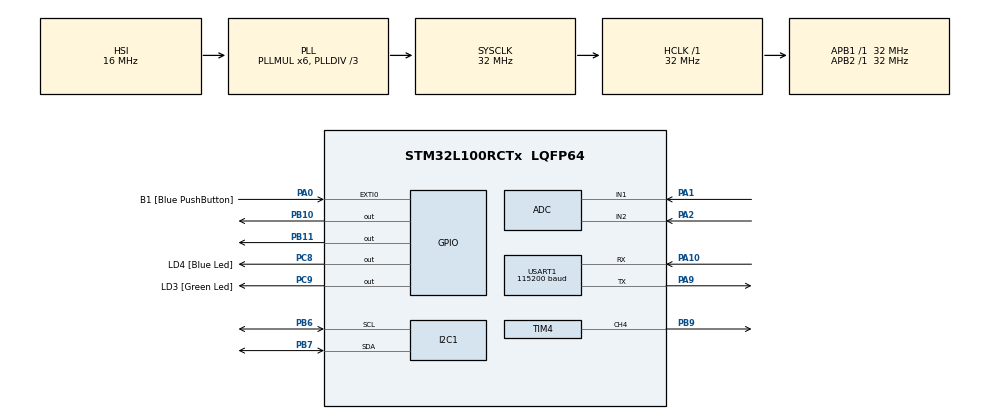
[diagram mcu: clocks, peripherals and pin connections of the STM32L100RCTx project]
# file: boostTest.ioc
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ADC.Channel-0\#ChannelRegularConversion=ADC_CHANNEL_1
ADC.Channel-1\#ChannelRegularConversion=ADC_CHANNEL_2
ADC.ClockPrescaler=ADC_CLOCK_ASYNC_DIV4
ADC.ContinuousConvMode=ENABLE
ADC.DMAContinuousRequests=ENABLE
ADC.DataAlign=ADC_DATAALIGN_RIGHT
ADC.DiscontinuousConvMode=DISABLE
ADC.EOCSelection=EOC_SINGLE_CONV
ADC.EnableAnalogWatchDog=false
ADC.ExternalTrigConvEdge=ADC_EXTERNALTRIGCONVEDGE_NONE
ADC.InjNumberOfConversion=0
ADC.LowPowerAutoPowerOff=ADC_AUTOPOWEROFF_DISABLE
ADC.LowPowerAutoWait=ADC_AUTOWAIT_DISABLE
ADC.NbrOfConversion=2
ADC.NbrOfConversionFlag=1
ADC.Rank-0\#ChannelRegularConversion=1
ADC.Rank-1\#ChannelRegularConversion=2
ADC.Resolution=ADC_RESOLUTION12b
ADC.SamplingTime-0\#ChannelRegularConversion=ADC_SAMPLETIME_4CYCLES
ADC.SamplingTime-1\#ChannelRegularConversion=ADC_SAMPLETIME_4CYCLES
ADC.ScanConvMode=ADC_SCAN_ENABLE
Dma.ADC.2.Direction=DMA_PERIPH_TO_MEMORY
Dma.ADC.2.Instance=DMA1_Channel1
Dma.ADC.2.MemDataAlignment=DMA_MDATAALIGN_WORD
Dma.ADC.2.MemInc=DMA_MINC_ENABLE
Dma.ADC.2.Mode=DMA_CIRCULAR
Dma.ADC.2.PeriphDataAlignment=DMA_PDATAALIGN_WORD
Dma.ADC.2.PeriphInc=DMA_PINC_DISABLE
Dma.ADC.2.Priority=DMA_PRIORITY_HIGH
Dma.Request0=USART1_TX
Dma.Request1=USART1_RX
Dma.Request2=ADC
Dma.USART1_RX.1.Direction=DMA_PERIPH_TO_MEMORY
Dma.USART1_RX.1.Instance=DMA1_Channel5
Dma.USART1_RX.1.MemDataAlignment=DMA_MDATAALIGN_BYTE
Dma.USART1_RX.1.MemInc=DMA_MINC_ENABLE
Dma.USART1_RX.1.Mode=DMA_CIRCULAR
Dma.USART1_RX.1.PeriphDataAlignment=DMA_PDATAALIGN_BYTE
Dma.USART1_RX.1.PeriphInc=DMA_PINC_DISABLE
Dma.USART1_RX.1.Priority=DMA_PRIORITY_HIGH
Dma.USART1_TX.0.Direction=DMA_MEMORY_TO_PERIPH
Dma.USART1_TX.0.Instance=DMA1_Channel4
Dma.USART1_TX.0.MemDataAlignment=DMA_MDATAALIGN_BYTE
Dma.USART1_TX.0.MemInc=DMA_MINC_ENABLE
Dma.USART1_TX.0.Mode=DMA_NORMAL
Dma.USART1_TX.0.PeriphDataAlignment=DMA_PDATAALIGN_BYTE
Dma.USART1_TX.0.PeriphInc=DMA_PINC_DISABLE
Dma.USART1_TX.0.Priority=DMA_PRIORITY_HIGH
Mcu.Family=STM32L1
Mcu.Name=STM32L100RCTx
Mcu.Package=LQFP64
NVIC.ADC1_IRQn=true\:0\:0\:false\:false\:true
NVIC.DMA1_Channel1_IRQn=true\:0\:0\:false\:false\:true
NVIC.DMA1_Channel4_IRQn=true\:0\:0\:false\:false\:true
NVIC.DMA1_Channel5_IRQn=true\:0\:0\:false\:false\:true
NVIC.PriorityGroup=NVIC_PRIORITYGROUP_0
NVIC.USART1_IRQn=true\:0\:0\:false\:false\:true
PA0-WKUP1.GPIO_Label=B1 [Blue PushButton]
PA0-WKUP1.GPIO_ModeDefaultEXTI=GPIO_MODE_EVT_RISING
PA0-WKUP1.Signal=GPXTI0
PA1.Mode=IN1
PA1.Signal=ADC_IN1
PA10.Mode=Asynchronous
PA10.Signal=USART1_RX
PA13.GPIO_Label=SWDIO
PA13.Signal=SYS_JTMS-SWDIO
PA14.GPIO_Label=SWCLK
PA14.Signal=SYS_JTCK-SWCLK
PA2.Mode=IN2
PA2.Signal=ADC_IN2
PA9.Mode=Asynchronous
PA9.Signal=USART1_TX
PB10.Signal=GPIO_Output
PB11.Signal=GPIO_Output
PB3.GPIO_Label=SWO
PB3.Signal=SYS_JTDO-TRACESWO
PB6.Mode=I2C
PB6.Signal=I2C1_SCL
PB7.Mode=I2C
PB7.Signal=I2C1_SDA
PB9.Signal=S_TIM4_CH4
PC14-OSC32_IN.GPIO_Label=PC14-OSC32_IN
PC14-OSC32_IN.Signal=RCC_OSC32_IN
PC15-OSC32_OUT.GPIO_Label=PC15-OSC32_OUT
PC15-OSC32_OUT.Signal=RCC_OSC32_OUT
PC8.GPIO_Label=LD4 [Blue Led]
PC8.Signal=GPIO_Output
PC9.GPIO_Label=LD3 [Green Led]
PC9.Signal=GPIO_Output
PH0-OSC_IN.GPIO_Label=PH0-OSC_IN
PH0-OSC_IN.Signal=RCC_OSC_IN
PH1-OSC_OUT.GPIO_Label=PH1-OSC_OUT
PH1-OSC_OUT.Signal=RCC_OSC_OUT
ProjectManager.HeapSize=0x400
ProjectManager.StackSize=0x200
ProjectManager.TargetToolchain=SW4STM32
RCC.AHBFreq_Value=32000000
RCC.APB1Freq_Value=32000000
RCC.APB1TimFreq_Value=32000000
RCC.APB2Freq_Value=32000000
RCC.APB2TimFreq_Value=32000000
RCC.HCLKFreq_Value=32000000
RCC.HSE_VALUE=8000000
RCC.HSI_VALUE=16000000
RCC.LSEState=RCC_LSE_ON
RCC.LSE_VALUE=32768
RCC.MSI_VALUE=2097000
RCC.PLLDIV=RCC_PLL_DIV3
RCC.PLLMUL=RCC_PLL_MUL6
RCC.RTCClockSelectionVirtual=RCC_RTCCLKSOURCE_LSE
RCC.SYSCLKFreq_VALUE=32000000
RCC.SYSCLKSource=RCC_SYSCLKSOURCE_PLLCLK
RCC.USBOutput=48000000
RCC.VCOOutputFreq_Value=96000000
SH.S_TIM4_CH4.0=TIM4_CH4,PWM Generation4 CH4
TIM4.Channel-PWM\ Generation4\ CH4=TIM_CHANNEL_4
TIM4.Period=160
TIM4.Pulse-PWM\ Generation4\ CH4=0x50
USART1.BaudRate=115200
board=STM32L100C-DISCO

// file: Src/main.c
/**
  ******************************************************************************
  * File Name          : main.c
  * Description        : Main program body
  ******************************************************************************
  *
  * COPYRIGHT(c) 2016 STMicroelectronics
  *
  * Redistribution and use in source and binary forms, with or without modification,
  * are permitted provided that the following conditions are met:
  *   1. Redistributions of source code must retain the above copyright notice,
  *      this list of conditions and the following disclaimer.
  *   2. Redistributions in binary form must reproduce the above copyright notice,
  *      this list of conditions and the following disclaimer in the documentation
  *      and/or other materials provided with the distribution.
  *   3. Neither the name of STMicroelectronics nor the names of its contributors
  *      may be used to endorse or promote products derived from this software
  *      without specific prior written permission.
  *
  * THIS SOFTWARE IS PROVIDED BY THE COPYRIGHT HOLDERS AND CONTRIBUTORS "AS IS"
  * AND ANY EXPRESS OR IMPLIED WARRANTIES, INCLUDING, BUT NOT LIMITED TO, THE
  * IMPLIED WARRANTIES OF MERCHANTABILITY AND FITNESS FOR A PARTICULAR PURPOSE ARE
  * DISCLAIMED. IN NO EVENT SHALL THE COPYRIGHT HOLDER OR CONTRIBUTORS BE LIABLE
  * FOR ANY DIRECT, INDIRECT, INCIDENTAL, SPECIAL, EXEMPLARY, OR CONSEQUENTIAL
  * DAMAGES (INCLUDING, BUT NOT LIMITED TO, PROCUREMENT OF SUBSTITUTE GOODS OR
  * SERVICES; LOSS OF USE, DATA, OR PROFITS; OR BUSINESS INTERRUPTION) HOWEVER
  * CAUSED AND ON ANY THEORY OF LIABILITY, WHETHER IN CONTRACT, STRICT LIABILITY,
  * OR TORT (INCLUDING NEGLIGENCE OR OTHERWISE) ARISING IN ANY WAY OUT OF THE USE
  * OF THIS SOFTWARE, EVEN IF ADVISED OF THE POSSIBILITY OF SUCH DAMAGE.
  *
  ******************************************************************************
  */
#include "stm32l1xx_hal.h"

/* USER CODE BEGIN Includes */
#include "main.h"

/* Defines related to Clock configuration */

/* define address of permanent flags at non volatile memory space */
#define ADDR_FLASH_STATUS_FLAG  ((uint32_t)0x08080000)
/* value to check if flag is true */
#define STATUS_TRUE             ((uint32_t)0xDEADBEEF)

#define ADDR_TC74 (0x4c)//A4 marking on TO23 = 1001 100 7bit address

/* RTC handler declaration */
//RTC_HandleTypeDef RtcHandle;

/* USER CODE END Includes */

ADC_HandleTypeDef hadc;
DMA_HandleTypeDef hdma_adc;

I2C_HandleTypeDef hi2c1;

TIM_HandleTypeDef htim4;

UART_HandleTypeDef huart1;
DMA_HandleTypeDef hdma_usart1_tx;
DMA_HandleTypeDef hdma_usart1_rx;

/* USER CODE BEGIN PV */
/* Private variables ---------------------------------------------------------*/

/* Buffer used for transmission */
uint8_t aTxStartMessage[] = "\n\r ****UART-Hyperterminal communication based on DMA****\n\r Enter 10 characters using keyboard :\n\r";
uint8_t aTxEndMessage[] = "\n\r Example Finished\n\r";

/* Buffer used for reception */
uint8_t aRxBuffer[10];

/* USER CODE END PV */

void SystemClock_Config(void);
static void MX_GPIO_Init(void);
static void MX_DMA_Init(void);
static void MX_ADC_Init(void);
static void MX_I2C1_Init(void);
static void MX_TIM4_Init(void);
static void MX_USART1_UART_Init(void);

void HAL_TIM_MspPostInit(TIM_HandleTypeDef *htim);

/* USER CODE BEGIN PFP */
/* Private function prototypes -----------------------------------------------*/
void HAL_TIM_SetPWMreg(TIM_HandleTypeDef *htim, uint32_t Channel, uint32_t Value);
/* USER CODE END PFP */

/* USER CODE BEGIN 0 */
//__attribute__((__section__(".data"))) const uint8_t userConfig[4];
uint32_t measurement_dma[20];
static uint32_t power =0;
static uint32_t duty_cycle = 0x10;
static uint8_t increment_flag = 1;
static uint8_t adc_reading_complete = 0;

static uint8_t txDoneFlag =0;
static uint8_t rxDoneFlag =0;

/* USER CODE END 0 */

int main(void)
{

  /* MCU Configuration----------------------------------------------------------*/

  /* Reset of all peripherals, Initializes the Flash interface and the Systick. */
  HAL_Init();

  /* Configure the system clock */
  SystemClock_Config();

  /* Initialize all configured peripherals */
  MX_GPIO_Init();
  MX_DMA_Init();
  MX_ADC_Init();
  MX_I2C1_Init();
  MX_TIM4_Init();
  MX_USART1_UART_Init();

  /* USER CODE BEGIN 2 */

  /*GPIO*/
  HAL_GPIO_WritePin(GPIOC, LD4_Pin, GPIO_PIN_SET);
  HAL_Delay(1000);
  HAL_GPIO_WritePin(GPIOC, LD4_Pin, GPIO_PIN_RESET);
  HAL_GPIO_WritePin(GPIOC, LD3_Pin, GPIO_PIN_SET);
  HAL_Delay(1000);
  HAL_GPIO_WritePin(GPIOC, LD3_Pin, GPIO_PIN_RESET);

  uint32_t flash_status;

  /*FLASH*/

  flash_status = *( (uint32_t *)ADDR_FLASH_STATUS_FLAG);

  while(flash_status!=STATUS_TRUE){

	  HAL_GPIO_WritePin(GPIOC, LD4_Pin, GPIO_PIN_SET);
	  HAL_Delay(1000);
	  /*put to sleep for SLEEP_TIME seconds*/
	  HAL_PWR_EnterSLEEPMode( PWR_MAINREGULATOR_ON,  PWR_SLEEPENTRY_WFI);
	  HAL_GPIO_WritePin(GPIOC, LD4_Pin, GPIO_PIN_RESET);

	  /* write to memory the proper status true value */
	  HAL_FLASH_Unlock();
	  HAL_FLASH_Program(TYPEPROGRAM_WORD, ADDR_FLASH_STATUS_FLAG, STATUS_TRUE);
	  HAL_FLASH_Lock();

	  /* read back the new tatus to unlock the while loop*/
	  flash_status = *( (uint32_t *)ADDR_FLASH_STATUS_FLAG);
  }

  // -- Enables ADC and starts conversion of the regular channels.
    HAL_ADC_Start(&hadc);//paizei na nai perito.
    HAL_ADC_Start_DMA(&hadc, (uint32_t*)measurement_dma, 20);

    /* PWM  */
    //Enable and Start running PWM - timer4 channel4 - pin PB9.
    TIM_OC_InitTypeDef sConfigOC;
    sConfigOC.OCMode = TIM_OCMODE_PWM1;
    sConfigOC.Pulse = 0x00;
    sConfigOC.OCPolarity = TIM_OCPOLARITY_HIGH;
    sConfigOC.OCFastMode = TIM_OCFAST_DISABLE;
    HAL_TIM_Base_Start(&htim4);
    HAL_TIM_PWM_ConfigChannel(&htim4, &sConfigOC, TIM_CHANNEL_4);
    HAL_TIM_PWM_Start(&htim4, TIM_CHANNEL_4);

    /*UART*/
    uint8_t uart_output_buffer[30];
    sprintf(uart_output_buffer, "UART communication test ...\n");
    if(HAL_UART_Transmit_DMA(&huart1, (uint8_t*)uart_output_buffer, 30)!= HAL_OK)
    	    {
    	      /* Transfer error in transmission process */
    	      //Error_Handler();
    	    	HAL_Delay(1);
    	    }

    while(!txDoneFlag);

    uint8_t uart_input_buffer[10];
    if (HAL_UART_Receive_DMA(&huart1, (uint8_t *)uart_input_buffer, 10) != HAL_OK)
    {
    	/* Transfer error in reception process */
    	//Error_Handler();
    	HAL_Delay(1);
    }

    while(!rxDoneFlag);

    uint8_t i2c_temp[2]; // = { 0x20, 0x0F};
    uint8_t i2c_tc74_read_reg = 0x00;
    uint8_t i2c_tc74_control_reg = 0x01;
    uint8_t i2c_tc74writebuff[2]  = { 0x01, 0x00};
    if(uart_input_buffer[0]==57)
    {
    	/* get i2c temp and transmit it over uart */

    	/*read TC74 control register*/
    	HAL_I2C_Master_Transmit(&hi2c1, ( ADDR_TC74 << 1 ), i2c_tc74_control_reg, 1, 100);
    	/*read trasmited temperature data*/
    	HAL_I2C_Master_Receive(&hi2c1, ( ADDR_TC74 << 1 ), i2c_temp, 1, 100);

    	/*write to TC74 cotrol register a wake up signal*/
    	i2c_tc74writebuff[1] = 0b00000000;//wakeup
    	HAL_I2C_Master_Transmit(&hi2c1, ( ADDR_TC74 << 1 ), i2c_tc74writebuff, 2, 100);

    	/*write address of data register to tc 74*/
    	HAL_I2C_Master_Transmit(&hi2c1, ( ADDR_TC74 << 1 ), i2c_tc74_read_reg, 1, 100);
    	/*read trasmited temperature data*/
    	HAL_I2C_Master_Receive(&hi2c1, ( ADDR_TC74 << 1 ), i2c_temp, 1, 100);

    	/*write to TC74 cotrol register a sleep up signal*/
    	i2c_tc74writebuff[1] = 0b10000000;//wakeup
    	HAL_I2C_Master_Transmit(&hi2c1, ( ADDR_TC74 << 1 ), i2c_tc74writebuff, 2, 100);

    	/*read TC74 control register*/
    	HAL_I2C_Master_Transmit(&hi2c1, ( ADDR_TC74 << 1 ), i2c_tc74_control_reg, 1, 100);
    	/*read trasmited temperature data*/
    	HAL_I2C_Master_Receive(&hi2c1, ( ADDR_TC74 << 1 ), i2c_temp, 1, 100);

    	/*write to TC74 cotrol register a wake up signal*/
    	i2c_tc74writebuff[1] = 0b00000000;//wakeup
    	HAL_I2C_Master_Transmit(&hi2c1, ( ADDR_TC74 << 1 ), i2c_tc74writebuff, 2, 100);

    	/*write address of data register to tc 74*/
    	HAL_I2C_Master_Transmit(&hi2c1, ( ADDR_TC74 << 1 ), i2c_tc74_read_reg, 1, 100);
    	/*read trasmited temperature data*/
    	HAL_I2C_Master_Receive(&hi2c1, ( ADDR_TC74 << 1 ), i2c_temp, 1, 100);

    	/*write to TC74 cotrol register a sleep up signal*/
    	i2c_tc74writebuff[1] = 0b10000000;//wakeup
    	HAL_I2C_Master_Transmit(&hi2c1, ( ADDR_TC74 << 1 ), i2c_tc74writebuff, 2, 100);

    }

//    /*##-4- Wait for the end of the transfer ###################################*/
//    /*  Before starting a new communication transfer, you need to check the current
//        state of the peripheral; if it’s busy you need to wait for the end of current
//        transfer before starting a new one.
//        For simplicity reasons, this example is just waiting till the end of the
//        transfer, but application may perform other tasks while transfer operation
//        is ongoing. */
//    while (HAL_UART_GetState(&huart1) != HAL_UART_STATE_READY)
//    {
//    }

    //rethink about using circular mode it might mess up the whole thing
    //check back for non circular mode.
//    while(!rxDoneFlag);

//    txDoneFlag =0;
//    /*##-5- Send the received Buffer ###########################################*/
//    if (HAL_UART_Transmit_DMA(&huart1, (uint8_t *)aRxBuffer, 10) != HAL_OK)
//    {
//      /* Transfer error in transmission process */
//      //Error_Handler();
//    	//HAL_Delay(1);
//    }
//
//    while(!txDoneFlag);

  /* USER CODE END 2 */

  /* Infinite loop */
  /* USER CODE BEGIN WHILE */
  while (1)
  {

      /*set dma transfer complete flag to zero and start adc conversion*/
	  //TODO: think of a more adequate filtering strategy
	  adc_reading_complete = 0;
	  HAL_ADC_Start_DMA(&hadc, (uint32_t*)measurement_dma, 20);

	  /*Wait till DMA ADC sequence transfer is ready*/
	  while(adc_reading_complete==0){
		  //HAL_Delay(1);
	  }

	  /*Process Measurements*/
	  uint32_t voltage_avg =0;
	  uint32_t current_avg =0;
	  //deinterleave and sum voltage and current measurements.
	  for (int sum_index = 0; sum_index < 16; sum_index+=2) {
		  voltage_avg = voltage_avg + measurement_dma[sum_index];
		  current_avg = current_avg + measurement_dma[sum_index+1];
	  }
	  //average of 8 concecutive adc measurements.
	  voltage_avg = voltage_avg>>3;
	  current_avg = current_avg>>3;

	  /*power calculation*/
	  uint32_t power_now = voltage_avg * current_avg;

	  /*MPPT tracking algorithm*/

	  // decide duty cycle orientation - set increment flag.
	  if (power_now<(power)){

		  if (increment_flag>0){
			  increment_flag = 0;
		  }
		  else{
			  increment_flag = 1;
		  }
	  }
      //add appropriate offset - create new duty cycle.
	  if(increment_flag){
		  duty_cycle = duty_cycle+1;
	  }
	  else{
		  duty_cycle = duty_cycle-1;
	  }
	  power = power_now;
	  //Check for Overflow and Underflow
	  if (duty_cycle>350){duty_cycle=0;}
	  if (duty_cycle>320){duty_cycle=320;}
      // Set new PWM compare register
	  HAL_TIM_SetPWMreg(&htim4, TIM_CHANNEL_4, duty_cycle);// htim4.Instance->CCR4 = duty_cycle;

	  //TODO:  must add a mode for total power loss or else we will mppt  noise...

	  //TODO:  must prevet zero locking (now we start with duty cycle 50%)

//	  sprintf(uart_temp, "Uart thing:   %u  \n",power_now);
//	  HAL_UART_Transmit(&huart1, uart_temp, 20 , 10000);

	  HAL_Delay(50);

  /* USER CODE END WHILE */

  }

}

/** System Clock Configuration
*/
void SystemClock_Config(void)
{

  RCC_OscInitTypeDef RCC_OscInitStruct;
  RCC_ClkInitTypeDef RCC_ClkInitStruct;

  __PWR_CLK_ENABLE();

  __HAL_PWR_VOLTAGESCALING_CONFIG(PWR_REGULATOR_VOLTAGE_SCALE1);

  RCC_OscInitStruct.OscillatorType = RCC_OSCILLATORTYPE_HSI;
  RCC_OscInitStruct.HSIState = RCC_HSI_ON;
  RCC_OscInitStruct.HSICalibrationValue = 16;
  RCC_OscInitStruct.PLL.PLLState = RCC_PLL_ON;
  RCC_OscInitStruct.PLL.PLLSource = RCC_PLLSOURCE_HSI;
  RCC_OscInitStruct.PLL.PLLMUL = RCC_PLL_MUL6;
  RCC_OscInitStruct.PLL.PLLDIV = RCC_PLL_DIV3;
  HAL_RCC_OscConfig(&RCC_OscInitStruct);

  RCC_ClkInitStruct.ClockType = RCC_CLOCKTYPE_HCLK|RCC_CLOCKTYPE_SYSCLK
                              |RCC_CLOCKTYPE_PCLK1|RCC_CLOCKTYPE_PCLK2;
  RCC_ClkInitStruct.SYSCLKSource = RCC_SYSCLKSOURCE_PLLCLK;
  RCC_ClkInitStruct.AHBCLKDivider = RCC_SYSCLK_DIV1;
  RCC_ClkInitStruct.APB1CLKDivider = RCC_HCLK_DIV1;
  RCC_ClkInitStruct.APB2CLKDivider = RCC_HCLK_DIV1;
  HAL_RCC_ClockConfig(&RCC_ClkInitStruct, FLASH_LATENCY_1);

  HAL_SYSTICK_Config(HAL_RCC_GetHCLKFreq()/1000);

  HAL_SYSTICK_CLKSourceConfig(SYSTICK_CLKSOURCE_HCLK);

  /* SysTick_IRQn interrupt configuration */
  HAL_NVIC_SetPriority(SysTick_IRQn, 0, 0);
}

/* ADC init function */
void MX_ADC_Init(void)
{

  ADC_ChannelConfTypeDef sConfig;

    /**Configure the global features of the ADC (Clock, Resolution, Data Alignment and number of conversion)
    */
  hadc.Instance = ADC1;
  hadc.Init.ClockPrescaler = ADC_CLOCK_ASYNC_DIV4;
  hadc.Init.Resolution = ADC_RESOLUTION12b;
  hadc.Init.DataAlign = ADC_DATAALIGN_RIGHT;
  hadc.Init.ScanConvMode = ADC_SCAN_ENABLE;
  hadc.Init.EOCSelection = EOC_SINGLE_CONV;
  hadc.Init.LowPowerAutoWait = ADC_AUTOWAIT_DISABLE;
  hadc.Init.LowPowerAutoPowerOff = ADC_AUTOPOWEROFF_DISABLE;
  hadc.Init.ChannelsBank = ADC_CHANNELS_BANK_A;
  hadc.Init.ContinuousConvMode = ENABLE;
  hadc.Init.NbrOfConversion = 2;
  hadc.Init.DiscontinuousConvMode = DISABLE;
  hadc.Init.ExternalTrigConv = ADC_SOFTWARE_START;
  hadc.Init.ExternalTrigConvEdge = ADC_EXTERNALTRIGCONVEDGE_NONE;
  hadc.Init.DMAContinuousRequests = ENABLE;
  HAL_ADC_Init(&hadc);

    /**Configure for the selected ADC regular channel its corresponding rank in the sequencer and its sample time.
    */
  sConfig.Channel = ADC_CHANNEL_1;
  sConfig.Rank = 1;
  sConfig.SamplingTime = ADC_SAMPLETIME_4CYCLES;
  HAL_ADC_ConfigChannel(&hadc, &sConfig);

    /**Configure for the selected ADC regular channel its corresponding rank in the sequencer and its sample time.
    */
  sConfig.Channel = ADC_CHANNEL_2;
  sConfig.Rank = 2;
  HAL_ADC_ConfigChannel(&hadc, &sConfig);

}

/* I2C1 init function */
void MX_I2C1_Init(void)
{

  hi2c1.Instance = I2C1;
  hi2c1.Init.ClockSpeed = 100000;
  hi2c1.Init.DutyCycle = I2C_DUTYCYCLE_2;
  hi2c1.Init.OwnAddress1 = 0;
  hi2c1.Init.AddressingMode = I2C_ADDRESSINGMODE_7BIT;
  hi2c1.Init.DualAddressMode = I2C_DUALADDRESS_DISABLED;
  hi2c1.Init.OwnAddress2 = 0;
  hi2c1.Init.GeneralCallMode = I2C_GENERALCALL_DISABLED;
  hi2c1.Init.NoStretchMode = I2C_NOSTRETCH_DISABLED;
  HAL_I2C_Init(&hi2c1);

}

/* TIM4 init function */
void MX_TIM4_Init(void)
{

  TIM_MasterConfigTypeDef sMasterConfig;
  TIM_OC_InitTypeDef sConfigOC;

  htim4.Instance = TIM4;
  htim4.Init.Prescaler = 0;
  htim4.Init.CounterMode = TIM_COUNTERMODE_UP;
  htim4.Init.Period = 160;
  htim4.Init.ClockDivision = TIM_CLOCKDIVISION_DIV1;
  HAL_TIM_PWM_Init(&htim4);

  sMasterConfig.MasterOutputTrigger = TIM_TRGO_RESET;
  sMasterConfig.MasterSlaveMode = TIM_MASTERSLAVEMODE_DISABLE;
  HAL_TIMEx_MasterConfigSynchronization(&htim4, &sMasterConfig);

  sConfigOC.OCMode = TIM_OCMODE_PWM1;
  sConfigOC.Pulse = 0x50;
  sConfigOC.OCPolarity = TIM_OCPOLARITY_HIGH;
  sConfigOC.OCFastMode = TIM_OCFAST_DISABLE;
  HAL_TIM_PWM_ConfigChannel(&htim4, &sConfigOC, TIM_CHANNEL_4);

  HAL_TIM_MspPostInit(&htim4);

}

/* USART1 init function */
void MX_USART1_UART_Init(void)
{

  huart1.Instance = USART1;
  huart1.Init.BaudRate = 115200;
  huart1.Init.WordLength = UART_WORDLENGTH_8B;
  huart1.Init.StopBits = UART_STOPBITS_1;
  huart1.Init.Parity = UART_PARITY_NONE;
  huart1.Init.Mode = UART_MODE_TX_RX;
  huart1.Init.HwFlowCtl = UART_HWCONTROL_NONE;
  huart1.Init.OverSampling = UART_OVERSAMPLING_16;
  HAL_UART_Init(&huart1);

}

void MX_DMA_Init(void)
{
  /* DMA controller clock enable */
  __DMA1_CLK_ENABLE();

  /* DMA interrupt init */
  HAL_NVIC_SetPriority(DMA1_Channel1_IRQn, 0, 0);
  HAL_NVIC_EnableIRQ(DMA1_Channel1_IRQn);
  HAL_NVIC_SetPriority(DMA1_Channel4_IRQn, 0, 0);
  HAL_NVIC_EnableIRQ(DMA1_Channel4_IRQn);
  HAL_NVIC_SetPriority(DMA1_Channel5_IRQn, 0, 0);
  HAL_NVIC_EnableIRQ(DMA1_Channel5_IRQn);
}

/** Configure pins as
        * Analog
        * Input
        * Output
        * EVENT_OUT
        * EXTI
*/
void MX_GPIO_Init(void)
{

  GPIO_InitTypeDef GPIO_InitStruct;

  /* GPIO Ports Clock Enable */
  __GPIOC_CLK_ENABLE();
  __GPIOH_CLK_ENABLE();
  __GPIOA_CLK_ENABLE();
  __GPIOB_CLK_ENABLE();

  /*Configure GPIO pin : B1_Pin */
  GPIO_InitStruct.Pin = B1_Pin;
  GPIO_InitStruct.Mode = GPIO_MODE_EVT_RISING;
  GPIO_InitStruct.Pull = GPIO_NOPULL;
  HAL_GPIO_Init(B1_GPIO_Port, &GPIO_InitStruct);

  /*Configure GPIO pins : PB10 PB11 */
  GPIO_InitStruct.Pin = GPIO_PIN_10|GPIO_PIN_11;
  GPIO_InitStruct.Mode = GPIO_MODE_OUTPUT_PP;
  GPIO_InitStruct.Pull = GPIO_NOPULL;
  GPIO_InitStruct.Speed = GPIO_SPEED_VERY_LOW;
  HAL_GPIO_Init(GPIOB, &GPIO_InitStruct);

  /*Configure GPIO pins : LD4_Pin LD3_Pin */
  GPIO_InitStruct.Pin = LD4_Pin|LD3_Pin;
  GPIO_InitStruct.Mode = GPIO_MODE_OUTPUT_PP;
  GPIO_InitStruct.Pull = GPIO_NOPULL;
  GPIO_InitStruct.Speed = GPIO_SPEED_VERY_LOW;
  HAL_GPIO_Init(GPIOC, &GPIO_InitStruct);

  /*Configure GPIO pin Output Level */
  HAL_GPIO_WritePin(GPIOB, GPIO_PIN_10|GPIO_PIN_11, GPIO_PIN_RESET);

  /*Configure GPIO pin Output Level */
  HAL_GPIO_WritePin(GPIOC, LD4_Pin|LD3_Pin, GPIO_PIN_RESET);

}

/* USER CODE BEGIN 4 */
// ADC DMA interrupt handler
void HAL_ADC_ConvCpltCallback( ADC_HandleTypeDef * hadc){
    //printf("ADC conversion done.\n");
    HAL_ADC_Stop_DMA(hadc);
//    HAL_ADC_Stop(hadc);
    adc_reading_complete = 1;

//    /*UART*/
//    uint8_t uart_temp[30];
//    sprintf(uart_temp, "DMA-ADC transfer complete \n");
//    HAL_UART_Transmit(&huart1, uart_temp, 27 , 10000);

}

/**
  * @brief  Tx Transfer completed callback
  * @param  huart: UART handle.
  * @note   This example shows a simple way to report end of DMA Tx transfer, and
  *         you can add your own implementation.
  * @retval None
  */
void HAL_UART_TxCpltCallback(UART_HandleTypeDef *huart)
{
   //HAL_Delay(1);
   txDoneFlag = 1;
}

/**
  * @brief  Rx Transfer completed callback
  * @param  huart: UART handle
  * @note   This example shows a simple way to report end of DMA Rx transfer, and
  *         you can add your own implementation.
  * @retval None
  */
void HAL_UART_RxCpltCallback(UART_HandleTypeDef *huart)
{
 	//HAL_Delay(1);
	rxDoneFlag = 1;
}

/* Set Only Output compare register of the specified timer and channel without
 * first reseting the output. This function is implemented cause the existing hal
 * way to change pwm compare register of any channel/timer first disables output.
 * This is totally unacceptable for a power converter.*/
void HAL_TIM_SetPWMreg(TIM_HandleTypeDef *htim, uint32_t Channel, uint32_t Value){

	/* Check the parameters */
	assert_param(IS_TIM_CHANNELS(Channel));

	switch (Channel)
	{
	case TIM_CHANNEL_1:
	{
		assert_param(IS_TIM_CC1_INSTANCE(htim->Instance));
		htim->Instance->CCR1 = Value;
	}
	break;

	case TIM_CHANNEL_2:
	{
		assert_param(IS_TIM_CC2_INSTANCE(htim->Instance));
		htim->Instance->CCR2 = Value;
	}
	break;

	case TIM_CHANNEL_3:
	{
		assert_param(IS_TIM_CC3_INSTANCE(htim->Instance));
		htim->Instance->CCR3 = Value;
	}
	break;

	case TIM_CHANNEL_4:
	{
		assert_param(IS_TIM_CC4_INSTANCE(htim->Instance));
		htim->Instance->CCR4 = Value;
	}
	break;

	default:
		break;
	}

}

/* USER CODE END 4 */

/************************ (C) COPYRIGHT STMicroelectronics *****END OF FILE****/
